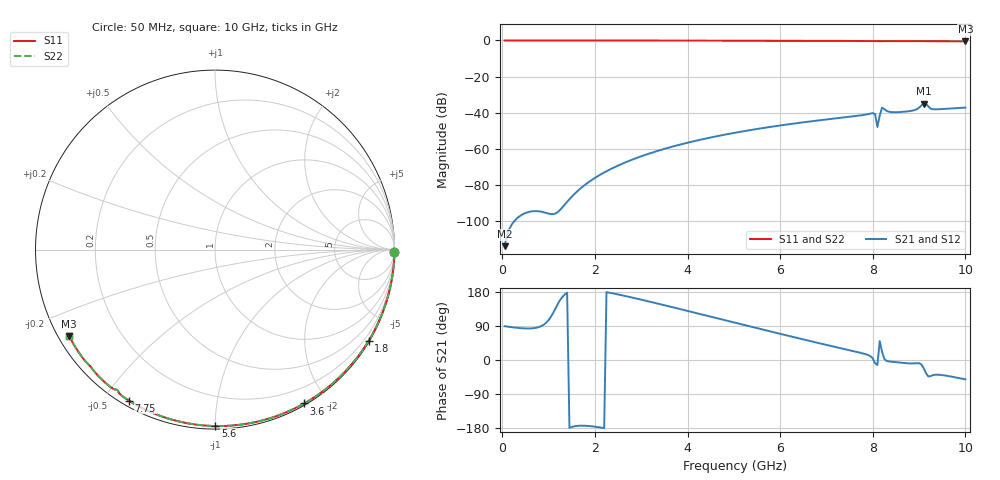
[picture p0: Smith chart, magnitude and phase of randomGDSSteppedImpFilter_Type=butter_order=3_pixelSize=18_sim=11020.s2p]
! freq	dB(S11)	phase(S11)	dB(S12)	phase(S12)
!  dB(S21)	phase(S21)	dB(S22)	phase(S22)
!S-par simulation data
#  GHz  S  DB  R 50
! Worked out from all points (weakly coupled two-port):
!   200 points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, 50 MHz to 10 GHz, reference 50 ohm
!   highest |S21| = -35.01 dB at 9.1 GHz (marker M1); lowest = -113.8 dB at 50 MHz (marker M2)
!   lowest |S11| = -0.5 dB at 10 GHz (marker M3), VSWR 35.18, Z = 1.53 - j13.7 ohm
!   |S11| at or under -10 dB: nowhere
!   |S22| runs from -0.5 to 0.0 dB; largest |S21 - S12| = 0
!   S11 on the Smith chart (normalised r, x): 50 MHz: open; 1.8 GHz: 0.03, -3.64; 3.6 GHz: 0.02, -1.74; 5.6 GHz: 0.02, -1.00; 7.75 GHz: 0.02, -0.58; 10 GHz: 0.03, -0.27
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0.05  -0.00 -0.9  -113.83 89.1  -113.83 89.1  -0.00 -0.9
1.75  -0.04 -29.9  -80.61 -173.3  -80.61 -173.3  -0.04 -29.9
1.8  -0.04 -30.7  -79.61 -173.5  -79.61 -173.5  -0.04 -30.7
2.5  -0.05 -42.3  -69.24 173.0  -69.24 173.0  -0.05 -42.3
3.4  -0.08 -56.8  -60.75 147.6  -60.75 147.6  -0.08 -56.8
3.6  -0.08 -59.9  -59.26 141.6  -59.26 141.6  -0.08 -59.9
5.05  -0.13 -81.9  -50.95 97.7  -50.95 97.7  -0.13 -81.9
5.6  -0.15 -89.9  -48.58 81.1  -48.58 81.1  -0.15 -89.9
6.7  -0.20 -105.3  -44.65 48.4  -44.65 48.4  -0.20 -105.4
7.75  -0.28 -119.7  -41.42 18.5  -41.42 18.5  -0.28 -119.7
8.05  -0.35 -124.0  -40.69 -8.6  -40.69 -8.6  -0.35 -124.0
8.1  -0.41 -124.5  -47.89 -13.3  -47.89 -13.3  -0.41 -124.5
8.15  -0.41 -124.8  -41.55 50.0  -41.55 50.0  -0.41 -124.9
8.2  -0.40 -125.2  -37.18 21.9  -37.18 21.9  -0.41 -125.2
8.35  -0.34 -127.3  -39.45 -3.8  -39.45 -3.8  -0.34 -127.3
8.85  -0.39 -134.1  -38.88 -9.1  -38.88 -9.1  -0.39 -134.2
8.95  -0.41 -135.5  -38.06 -8.2  -38.06 -8.2  -0.41 -135.5
9.1  -0.43 -137.3  -35.01 -21.7  -35.01 -21.7  -0.43 -137.3
9.15  -0.42 -137.9  -35.07 -34.8  -35.07 -34.8  -0.43 -138.0
9.25  -0.42 -139.2  -37.73 -42.3  -37.73 -42.3  -0.42 -139.3
9.3  -0.42 -139.9  -38.07 -39.9  -38.07 -39.9  -0.42 -140.0
10  -0.49 -149.3  -37.15 -51.1  -37.15 -51.1  -0.49 -149.4
